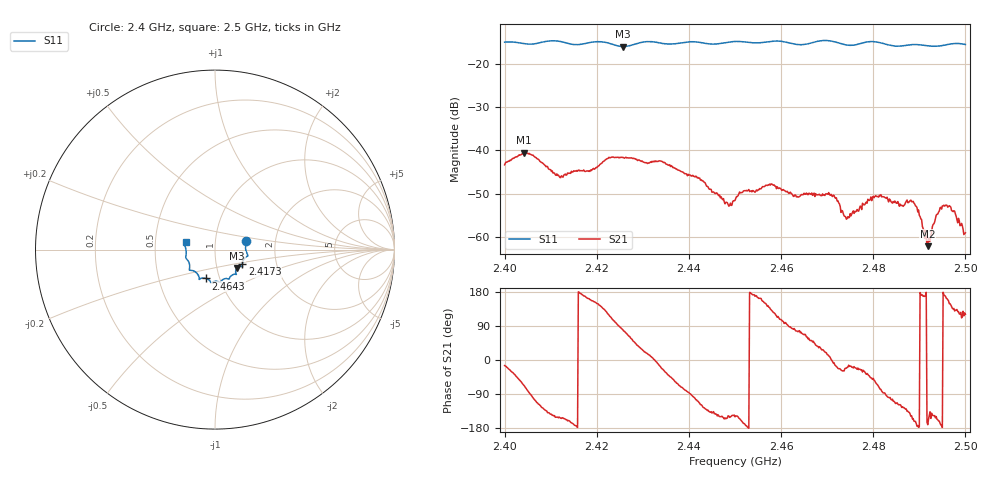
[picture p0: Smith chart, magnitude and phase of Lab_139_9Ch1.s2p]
# Hz S RI R 50
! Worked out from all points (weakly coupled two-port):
!   601 points, 2.4 GHz to 2.5 GHz, reference 50 ohm
!   highest |S21| = -40.56 dB at 2.4042 GHz (marker M1); lowest = -62.2 dB at 2.4918 GHz (marker M2)
!   lowest |S11| = -15.9 dB at 2.4257 GHz (marker M3), VSWR 1.38, Z = 62.5 - j13.1 ohm
!   |S11| at or under -10 dB: start of sweep to end of sweep
!   S12 and S22 are empty: the file has one direction only
!   S11 on the Smith chart (normalised r, x): 2.4 GHz: 1.41, +0.14; 2.4173 GHz: 1.34, -0.23; 2.4643 GHz: 0.86, -0.28; 2.5 GHz: 0.72, +0.06
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2.4e9  0.1731 0.0494  0.00658 -0.00172  0 0  0 0
2.404167e9  0.1715 0.0234  0.00369 -0.00861  0 0  0 0
2.412167e9  0.1792 -0.0373  -0.00432 -0.00215  0 0  0 0
2.416667e9  0.153 -0.0748  -0.00578 0.000593  0 0  0 0
2.417333e9  0.1521 -0.0822  -0.00563 0.0011  0 0  0 0
2.425667e9  0.123 -0.1021  0.00147 0.00819  0 0  0 0
2.433333e9  0.1128 -0.137  0.00734 -0.00136  0 0  0 0
2.442e9  0.0747 -0.1638  -0.00158 -0.00457  0 0  0 0
2.448333e9  0.0342 -0.1753  -0.00221 -0.00111  0 0  0 0
2.45e9  0.0295 -0.181  -0.00227 -0.00132  0 0  0 0
2.457667e9  -0.017 -0.1824  -0.00278 0.00282  0 0  0 0
2.464333e9  -0.0497 -0.1605  0.000876 0.00292  0 0  0 0
2.466667e9  -0.0759 -0.1597  0.00202 0.00249  0 0  0 0
2.4715e9  -0.0874 -0.1603  0.00298 -0.000385  0 0  0 0
2.474333e9  -0.1003 -0.1327  0.00153 -0.000537  0 0  0 0
2.480333e9  -0.143 -0.1125  0.00168 -0.00239  0 0  0 0
2.483333e9  -0.1408 -0.0898  -0.000382 -0.0025  0 0  0 0
2.488667e9  -0.1619 -0.0477  -0.00232 -0.0011  0 0  0 0
2.491833e9  -0.1609 -0.0269  -0.000765 -0.000123  0 0  0 0
2.494167e9  -0.1618 -0.000103  -0.00181 -0.000634  0 0  0 0
2.4955e9  -0.1657 0.0145  -0.00222 0.000394  0 0  0 0
2.5e9  -0.1637 0.0422  -0.000566 0.000952  0 0  0 0
